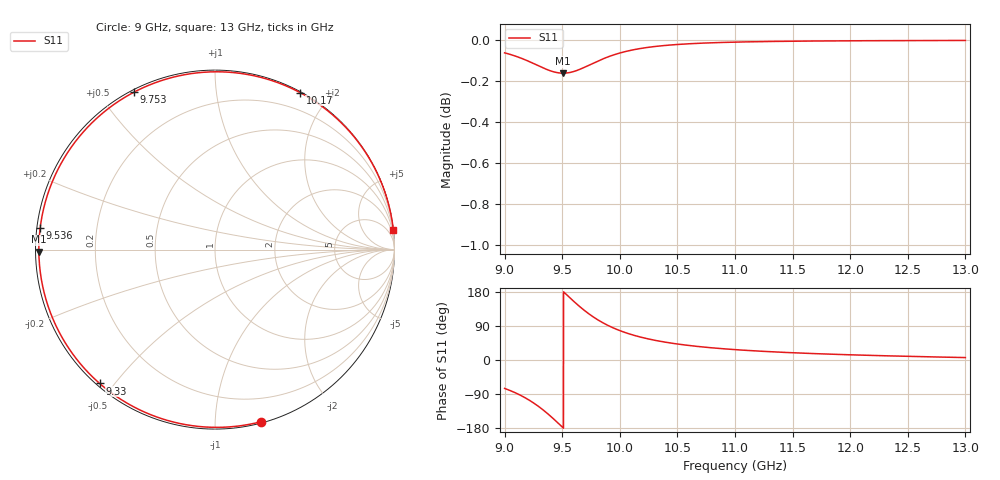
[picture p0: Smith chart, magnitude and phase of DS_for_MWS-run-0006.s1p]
! TOUCHSTONE file generated by CST DESIGN STUDIO
! Date and time: Tue Feb  4 15:55:11 2025
! Project name: C:\Work\MatlabApps\UnitCellOptimizationMatlab\CST\unitcell.cst
! Tree item: Tasks\Sweep1\SPara1\S-Parameters
! Header version: 2024
! Port assignment regex: !\s*Touchstone port\s*([0-9]+)\s*=\s*(CST MWS port|CST DES external port|CST DES block port)\s*(.+)\s* \(\"(.*)\"\)(\s*mode\s*([0-9]+))?.*
! Touchstone port assignment:
! Touchstone port 1 = CST DES external port 1 ("")
# GHz S MA R 50
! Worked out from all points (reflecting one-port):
!   4001 points, 9 GHz to 13 GHz, reference 50 ohm
!   lowest |S11| = -0.2 dB at 9.509 GHz (marker M1), VSWR 106.88, Z = 0.468 - j0.308 ohm
!   phase of S11 starts at -75 deg and turns -279 deg over the sweep
!   S11 on the Smith chart (normalised r, x): 9 GHz: 0.01, -1.30; 9.33 GHz: 0.01, -0.46; 9.536 GHz: 0.01, +0.06; 9.753 GHz: 0.01, +0.61; 10.17 GHz: 0.01, +1.68; 13 GHz: 0, +18
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9  0.9927 -75.0
9.088  0.991 -85.8
9.191  0.9885 -101.9
9.263  0.9865 -115.7
9.33  0.9845 -130.8
9.376  0.9833 -142.2
9.423  0.9823 -154.8
9.462  0.9817 -165.8
9.5  0.9815 -176.7
9.509  0.9815 -179.3
9.536  0.9815 172.9
9.59  0.9822 157.6
9.65  0.9835 141.4
9.701  0.9849 128.8
9.753  0.9865 117.2
9.805  0.988 106.8
9.861  0.9896 96.9
10  0.9926 77.6
10.08  0.9939 69.1
10.166  0.995 61.6
10.318  0.9963 51.2
10.5  0.9974 42.2
10.722  0.9981 34.3
11  0.9987 27.4
11.5  0.9992 19.1
12  0.9994 13.7
12.5  0.9995 9.7
13  0.9996 6.4
